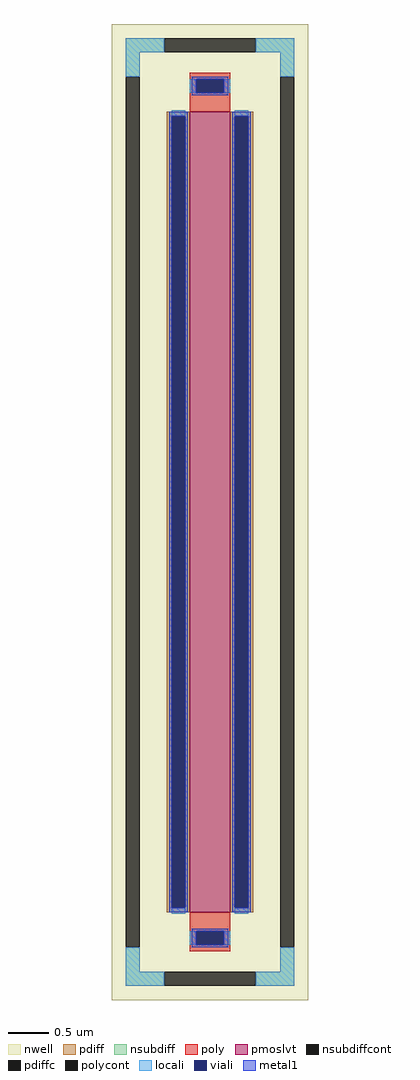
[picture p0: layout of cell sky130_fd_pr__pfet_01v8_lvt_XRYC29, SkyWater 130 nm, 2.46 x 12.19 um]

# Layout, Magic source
magic
tech sky130A
magscale 1 2
<< nwell >>
rect -246 -1219 246 1219
<< pmoslvt >>
rect -50 -1000 50 1000
<< pdiff >>
rect -108 988 -50 1000
rect -108 -988 -96 988
rect -62 -988 -50 988
rect -108 -1000 -50 -988
rect 50 988 108 1000
rect 50 -988 62 988
rect 96 -988 108 988
rect 50 -1000 108 -988
<< pdiffc >>
rect -96 -988 -62 988
rect 62 -988 96 988
<< nsubdiff >>
rect -210 1149 -114 1183
rect 114 1149 210 1183
rect -210 1087 -176 1149
rect 176 1087 210 1149
rect -210 -1149 -176 -1087
rect 176 -1149 210 -1087
rect -210 -1183 -114 -1149
rect 114 -1183 210 -1149
<< nsubdiffcont >>
rect -114 1149 114 1183
rect -210 -1087 -176 1087
rect 176 -1087 210 1087
rect -114 -1183 114 -1149
<< poly >>
rect -50 1081 50 1097
rect -50 1047 -34 1081
rect 34 1047 50 1081
rect -50 1000 50 1047
rect -50 -1047 50 -1000
rect -50 -1081 -34 -1047
rect 34 -1081 50 -1047
rect -50 -1097 50 -1081
<< polycont >>
rect -34 1047 34 1081
rect -34 -1081 34 -1047
<< locali >>
rect -210 1149 -114 1183
rect 114 1149 210 1183
rect -210 1087 -176 1149
rect 176 1087 210 1149
rect -50 1047 -34 1081
rect 34 1047 50 1081
rect -96 988 -62 1004
rect -96 -1004 -62 -988
rect 62 988 96 1004
rect 62 -1004 96 -988
rect -50 -1081 -34 -1047
rect 34 -1081 50 -1047
rect -210 -1149 -176 -1087
rect 176 -1149 210 -1087
rect -210 -1183 -114 -1149
rect 114 -1183 210 -1149
<< viali >>
rect -34 1047 34 1081
rect -96 -988 -62 988
rect 62 -988 96 988
rect -34 -1081 34 -1047
<< metal1 >>
rect -46 1081 46 1087
rect -46 1047 -34 1081
rect 34 1047 46 1081
rect -46 1041 46 1047
rect -102 988 -56 1000
rect -102 -988 -96 988
rect -62 -988 -56 988
rect -102 -1000 -56 -988
rect 56 988 102 1000
rect 56 -988 62 988
rect 96 -988 102 988
rect 56 -1000 102 -988
rect -46 -1047 46 -1041
rect -46 -1081 -34 -1047
rect 34 -1081 46 -1047
rect -46 -1087 46 -1081
<< properties >>
string FIXED_BBOX -193 -1166 193 1166
string gencell sky130_fd_pr__pfet_01v8_lvt
string library sky130
string parameters w 10 l 0.5 m 1 nf 1 diffcov 100 polycov 100 guard 1 glc 1 grc 1 gtc 1 gbc 1 tbcov 100 rlcov 100 topc 1 botc 1 poverlap 0 doverlap 1 lmin 0.35 wmin 0.42 compatible {sky130_fd_pr__pfet_01v8  sky130_fd_pr__pfet_01v8_lvt sky130_fd_pr__pfet_01v8_hvt  sky130_fd_pr__pfet_g5v0d10v5} full_metal 1 viasrc 100 viadrn 100 viagate 100 viagb 0 viagr 0 viagl 0 viagt 0
<< end >>
